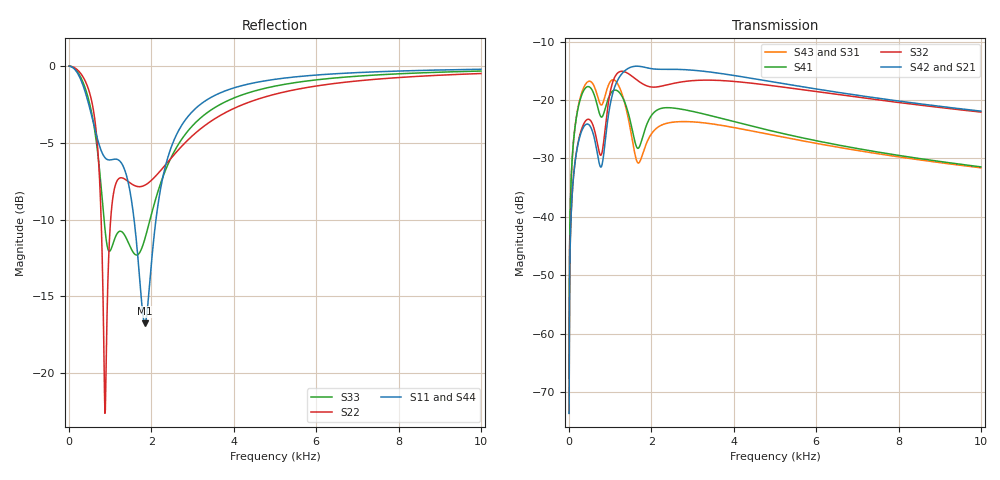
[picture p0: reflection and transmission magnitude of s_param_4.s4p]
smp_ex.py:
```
"""
Author: Nathan Totorica
Date: 4/29/2021

References:
[1] E. Medina, A. Ramirez, J. Morales and K. Sheshyekani, "Passivity Enforcement of FDNEs via Perturbation of Singularity Test Matrix," in IEEE Transactions on Power Delivery,
    vol. 35, no. 4, pp. 1648-1655, Aug. 2020, doi: 10.1109/TPWRD.2019.2949216.

[2] Houle, Jennifer, GitHub. May 10, 2020. Accessed on: February 3, 2021, [Online]. Available: https://github.com/jenniferEhoule/circuit_synthesis

"""
import numpy as np
import warnings
warnings.filterwarnings(action="error", category=np.ComplexWarning)
import time
import skrf as rf

from VFdriver import VFdriver
from RPdriver import RPdriver
from plots import plot_figure_11
from create_netlist import create_netlist_file
from SMP import SMP
from eig_plot import plot
from eig_plot import plot_s_parameters
from convert_y_to_y_prime import convert_y_to_y_prime_matrix_values_3d

##########################
# Import Y-parameters
##########################
#SP = rf.Network('s_param_16.s16p')
SP = rf.Network('s_param_4.s4p')
#SP = rf.Network('s_param_8.s8p')
#SP = rf.Network('s_param_4_infini.s4p')
#SP = rf.Network('s_param_test.s2p') # Inifinity case
#SP = rf.Network('s_param_3.s3p')
s = 2*np.pi*1j*SP.frequency.f
bigY = SP.y
bigS = SP.s

################################################
# Need to reshape - skrf y_param -> (f,N,N)
################################################
bigY_new = np.zeros((bigY.shape[1], bigY.shape[2], s.shape[0]),dtype=complex)

for freq in range(len(s)):
    bigY_new[:,:,freq] = bigY[freq,:,:]

bigY=bigY_new

################################################
# Vector Fitting
################################################
bigY_prime = convert_y_to_y_prime_matrix_values_3d(bigY)

# Pole-Residue Fitting
vf_driver = VFdriver(N=30,
                     poletype='linlogcmplx',
                     weightparam='common_sqrt',
                     Niter1=7,
                     Niter2=4,
                     asymp='D',
                     logx=False,
                     plot=False
                     )
poles=None
SER, rmserr, bigYfit = vf_driver.vfdriver(bigY_prime, s, poles)

prev_SER = SER.copy()

ylim1 = None
ylim2 = None
plot(plot_name='Original', s_pass=s.T, ylim=np.array((ylim1, ylim2)), labels=['Original'], SER1=prev_SER)
################################################
# Passivity Enforcement
################################################
start_time = time.process_time()

# Initalize SMP object
smp = SMP(plot=False)
SMP_SER = smp.SMP_driver(SER, Niter=10, s_pass=s.T)
print("{} s".format(time.process_time() - start_time))

plot(plot_name='SMP Enforecment', s_pass=s.T, ylim=np.array((ylim1, ylim2)), labels=['SMP Perturbed'], SER1=SMP_SER)
plot(plot_name='Orig Vs. SMP', s_pass=s.T, ylim=np.array((ylim1, ylim2)), labels=['Original', 'SMP Perturbed'], SER1=prev_SER, SER2=SMP_SER)

################################################
# Generate Netlist
################################################
poles = SMP_SER['poles']
residues = SMP_SER['C']
Ns = poles.shape[0]
Nc = int(residues.shape[1] / Ns)
poles = poles.reshape((1, -1))
residues = residues.reshape((Nc ** 2, Ns))
create_netlist_file(poles, residues)
```
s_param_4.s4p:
! Created Sun May  9 21:37:32 2021
# hz S ri R 50
! 4 Port Network Data from SP1.SP block
! freq  reS11  imS11  reS12  imS12  reS13  imS13  reS14  imS14
!  reS21  imS21  reS22  imS22  reS23  imS23  reS24  imS24
!  reS31  imS31  reS32  imS32  reS33  imS33  reS34  imS34
!  reS41  imS41  reS42  imS42  reS43  imS43  reS44  imS44
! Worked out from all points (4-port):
!   1001 points, 1 Hz to 10 kHz, reference 50 ohm
!   strongest paths, dB at 1 Hz, 2.501 kHz, 5.001 kHz, 7.501 kHz, 10 kHz:
!     S42: -73.6, -14.8, -17.0, -19.7, -21.9
!     S21: -73.6, -14.8, -17.0, -19.7, -21.9
!     S32: -73.6, -17.2, -17.6, -20.0, -22.1
!     S41: -67.6, -21.4, -25.4, -28.9, -31.4
!     S43: -67.6, -23.8, -26.1, -29.2, -31.6
!     S31: -67.6, -23.8, -26.1, -29.2, -31.6
!   lowest |S11| = -16.7 dB at 1.841 kHz (marker M1), VSWR 1.34, Z = 54.8 + j14.6 ohm
!   |S11| at or under -10 dB: 1.579 kHz to 2.11 kHz (531.4 Hz wide, 28.8 % of centre)
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1  1 -0.00293  4.65e-07 0.000209  1.19e-06 0.000419  1.28e-06 0.000419
   4.65e-07 0.000209  1 -0.00209  4.21e-07 0.000209  4.65e-07 0.000209
   1.19e-06 0.000419  4.21e-07 0.000209  1 -0.00251  1.19e-06 0.000419
   1.28e-06 0.000419  4.65e-07 0.000209  1.19e-06 0.000419  1 -0.00293
1841  0.064 0.1305  0.1806 0.0599  0.038 -0.01  0.0557 -0.00182
      0.1806 0.0599  -0.3994 -0.0895  0.1336 0.0126  0.1806 0.0599
      0.038 -0.01  0.1336 0.0126  -0.2615 -0.0813  0.038 -0.01
      0.0557 -0.00182  0.1806 0.0599  0.038 -0.01  0.064 0.1305
10000  0.9247 0.3156  0.0357 -0.0719  0.00704 -0.0254  0.00574 -0.0262
       0.0357 -0.0719  0.8041 0.499  0.0389 -0.0686  0.0357 -0.0719
       0.00704 -0.0254  0.0389 -0.0686  0.8706 0.4144  0.00704 -0.0254
       0.00574 -0.0262  0.0357 -0.0719  0.00704 -0.0254  0.9247 0.3156
